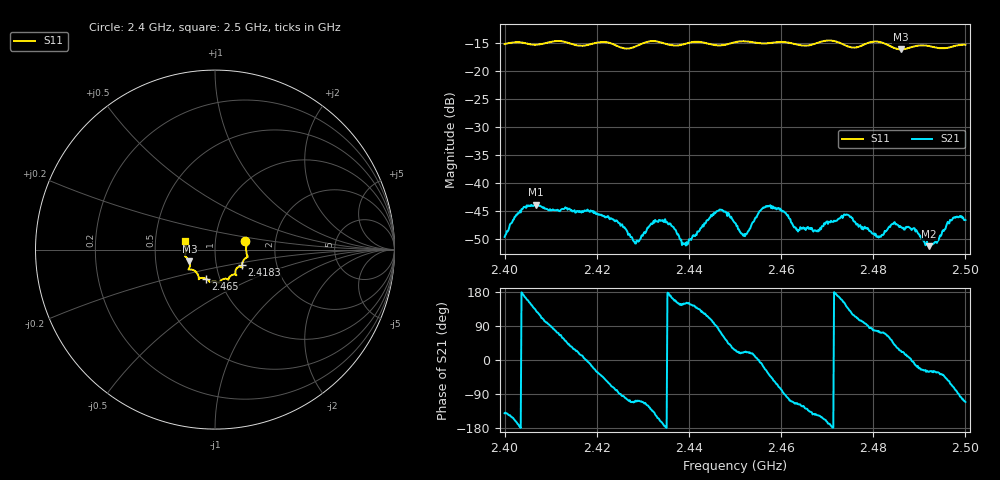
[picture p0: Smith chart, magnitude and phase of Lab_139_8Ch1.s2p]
# Hz S RI R 50
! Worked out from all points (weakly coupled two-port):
!   601 points, 2.4 GHz to 2.5 GHz, reference 50 ohm
!   highest |S21| = -43.86 dB at 2.4068 GHz (marker M1); lowest = -51.3 dB at 2.4922 GHz (marker M2)
!   lowest |S11| = -16.1 dB at 2.486 GHz (marker M3), VSWR 1.37, Z = 37.2 - j5 ohm
!   |S11| at or under -10 dB: start of sweep to end of sweep
!   S12 and S22 are empty: the file has one direction only
!   S11 on the Smith chart (normalised r, x): 2.4 GHz: 1.40, +0.14; 2.4183 GHz: 1.33, -0.24; 2.465 GHz: 0.86, -0.29; 2.5 GHz: 0.71, +0.07
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2.4e9  0.169 0.047  -0.00255 -0.00211  0 0  0 0
2.403833e9  0.1784 0.0285  -0.00583 0.000409  0 0  0 0
2.406833e9  0.1728 -0.00116  -0.00409 0.00494  0 0  0 0
2.416667e9  0.1547 -0.0683  0.00534 0.00117  0 0  0 0
2.418333e9  0.15 -0.087  0.00557 -0.000736  0 0  0 0
2.4245e9  0.1385 -0.095  0.000601 -0.00452  0 0  0 0
2.4285e9  0.1128 -0.1237  -0.000851 -0.00276  0 0  0 0
2.433333e9  0.1177 -0.1411  -0.00403 -0.00199  0 0  0 0
2.439e9  0.0783 -0.1567  -0.00243 0.0015  0 0  0 0
2.4465e9  0.0493 -0.163  0.00106 0.00561  0 0  0 0
2.45e9  0.0262 -0.1803  0.00397 0.00194  0 0  0 0
2.452167e9  0.0212 -0.1842  0.00314 0.00121  0 0  0 0
2.457167e9  -0.0111 -0.1781  0.00508 -0.00353  0 0  0 0
2.465e9  -0.0524 -0.1616  -0.00216 -0.00325  0 0  0 0
2.466667e9  -0.0712 -0.1576  -0.00296 -0.00265  0 0  0 0
2.474167e9  -0.0952 -0.1397  -0.00411 0.00327  0 0  0 0
2.481167e9  -0.1473 -0.1097  0.000755 0.00318  0 0  0 0
2.483333e9  -0.141 -0.0965  0.00194 0.00353  0 0  0 0
2.486e9  -0.1427 -0.0655  0.00369 0.00168  0 0  0 0
2.492167e9  -0.1659 -0.0274  0.00235 -0.00141  0 0  0 0
2.497167e9  -0.1639 0.0285  0.00173 -0.00442  0 0  0 0
2.5e9  -0.1666 0.0467  -0.00165 -0.00439  0 0  0 0
